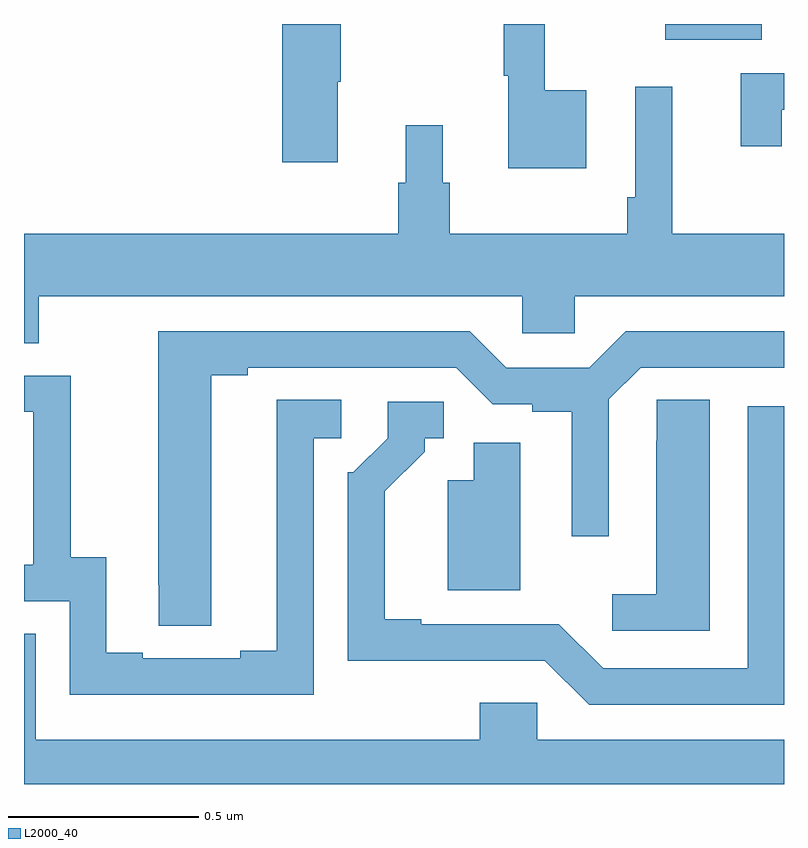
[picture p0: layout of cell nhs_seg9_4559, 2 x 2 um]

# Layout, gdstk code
import gdstk
lib = gdstk.Library(unit=1e-6, precision=1e-09)
def R(c, l, rs):  # rectangles x0, y0, x1, y1
    for r in rs: c.add(gdstk.rectangle(r[:2], r[2:], *l))
def P(c, l, *ps):  # polygons
    for p in ps: c.add(gdstk.Polygon(p, *l))
L2000_40 = (2000, 40)

nhs_seg9_4559 = lib.new_cell('nhs_seg9_4559')
R(nhs_seg9_4559, L2000_40, [(169.688,1166.459,169.942,1166.5)])
P(nhs_seg9_4559, L2000_40, [(169.48,1166.326),(169.371,1166.326),(169.371,1166.5),(169.263,1166.5),(169.263,1166.364),(169.274,1166.364),(169.274,1166.12),(169.48,1166.12)],
  [(168.826,1166.348),(168.834,1166.348),(168.834,1166.5),(168.68,1166.5),(168.68,1166.136),(168.826,1166.136)],
  [(169.994,1166.274),(170,1166.274),(170,1166.37),(169.886,1166.37),(169.886,1166.178),(169.994,1166.178)],
  [(168.039,1165.784),(169.311,1165.784),(169.311,1165.686),(169.449,1165.686),(169.449,1165.784),(170,1165.784),(170,1165.948),(169.706,1165.948),(169.706,1166.335),(169.608,1166.335),(169.608,1166.044),(169.588,1166.044),(169.588,1165.948),(169.121,1165.948),(169.121,1166.082),(169.102,1166.082),(169.102,1166.233),(169.004,1166.233),(169.004,1166.082),(168.985,1166.082),(168.985,1165.948),(168,1165.948),(168,1165.66),(168.039,1165.66)],
  [(168.493,1165.576),(168.589,1165.576),(168.589,1165.596),(169.137,1165.596),(169.233,1165.5),(169.338,1165.5),(169.338,1165.48),(169.442,1165.48),(169.442,1165.152),(169.539,1165.152),(169.539,1165.512),(169.623,1165.596),(170,1165.596),(170,1165.692),(169.583,1165.692),(169.487,1165.596),(169.269,1165.596),(169.173,1165.692),(168.353,1165.692),(168.353,1165.024),(168.354,1165.024),(168.354,1164.916),(168.493,1164.916)],
  [(168.762,1165.41),(168.835,1165.41),(168.835,1165.511),(168.665,1165.511),(168.665,1164.851),(168.569,1164.851),(168.569,1164.831),(168.313,1164.831),(168.313,1164.846),(168.217,1164.846),(168.217,1165.097),(168.123,1165.097),(168.123,1165.575),(168,1165.575),(168,1165.479),(168.024,1165.479),(168.024,1165.078),(168.023,1165.078),(168.023,1165.077),(168,1165.077),(168,1164.981),(168.12,1164.981),(168.12,1164.735),(168.762,1164.735)],
  [(169.804,1165.511),(169.665,1165.511),(169.665,1165.403),(169.664,1165.403),(169.664,1165),(169.548,1165),(169.548,1164.903),(169.804,1164.903)],
  [(170,1165.494),(169.904,1165.494),(169.904,1164.804),(169.524,1164.804),(169.407,1164.921),(169.045,1164.921),(169.045,1164.934),(168.949,1164.934),(168.949,1165.27),(169.054,1165.375),(169.054,1165.41),(169.104,1165.41),(169.104,1165.506),(168.957,1165.506),(168.957,1165.41),(168.867,1165.32),(168.852,1165.32),(168.852,1164.824),(169.115,1164.824),(169.115,1164.825),(169.371,1164.825),(169.488,1164.708),(170,1164.708)],
  [(169.306,1165.398),(169.184,1165.398),(169.184,1165.3),(169.115,1165.3),(169.115,1165.01),(169.306,1165.01)],
  [(170,1164.616),(169.35,1164.616),(169.35,1164.714),(169.199,1164.714),(169.199,1164.616),(168.031,1164.616),(168.031,1164.896),(168,1164.896),(168,1164.5),(170,1164.5)])

lib.write_gds('nhs_seg9_4559.gds')
